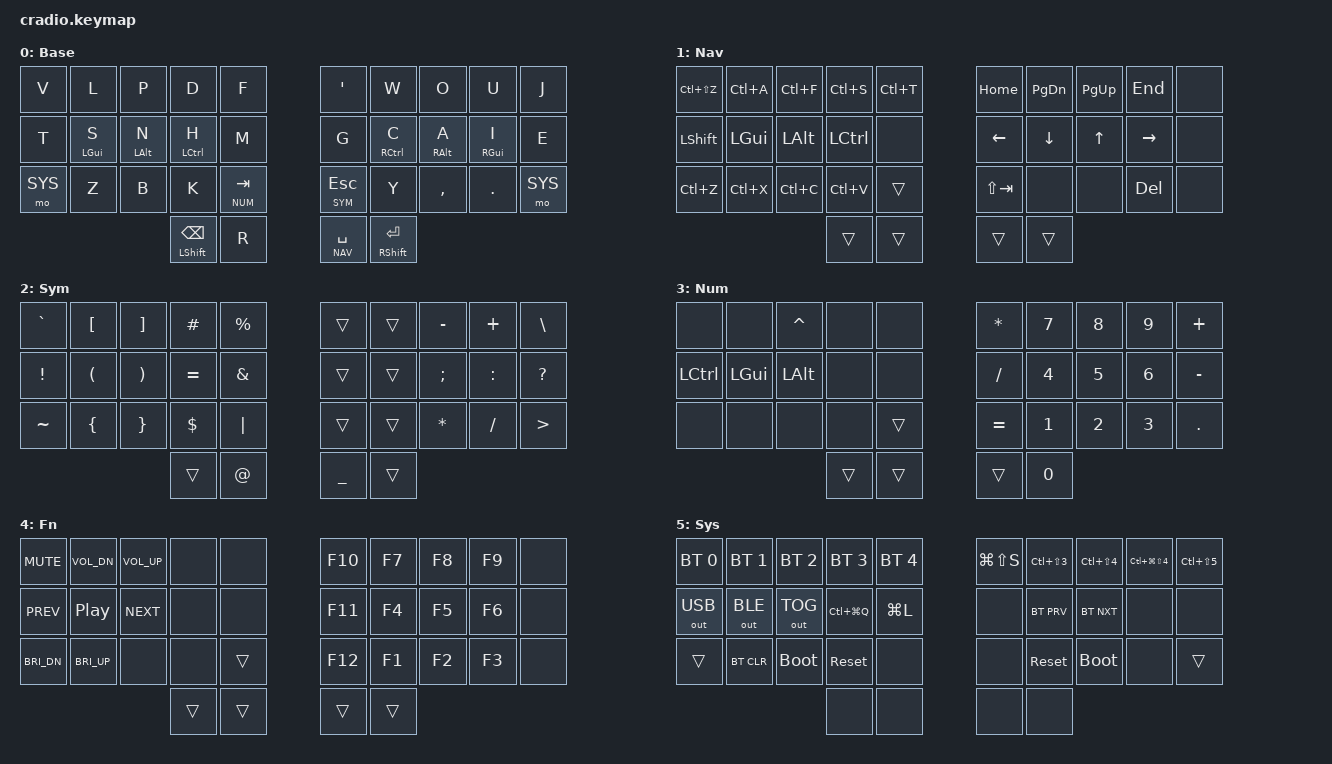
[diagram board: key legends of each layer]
/*
 * B's Ferris Sweep (cradio) — Birdie 23332 + layers
 *
 * Shortcuts are Ctrl-based on every OS. On macOS/iPadOS, Ctrl and Cmd are
 * swapped in the OS settings (same as the Voyager), so Ctrl+C = copy everywhere.
 *
 * Position map (cradio, 34 keys):
 *  0  1  2  3  4 |  5  6  7  8  9
 * 10 11 12 13 14 | 15 16 17 18 19
 * 20 21 22 23 24 | 25 26 27 28 29
 *       30 31    |    32 33
 *
 * Layer access:
 *   NAV = hold Space (32)          SYM = hold 25 (tap Esc)
 *   NUM = hold 24 (tap Tab)        FN  = NAV + NUM together
 *   SYS = hold 20 or 29 (pinky bottoms, no tap action)
 */

#include <behaviors.dtsi>
#include <dt-bindings/zmk/keys.h>
#include <dt-bindings/zmk/bt.h>
#include <dt-bindings/zmk/outputs.h>

#define BASE 0
#define NAV  1
#define SYM  2
#define NUM  3
#define FN   4
#define SYS  5

/* key position groups for positional hold-taps */
#define KEYS_L 0 1 2 3 4 10 11 12 13 14 20 21 22 23 24
#define KEYS_R 5 6 7 8 9 15 16 17 18 19 25 26 27 28 29
#define THUMBS 30 31 32 33

/* Ctrl-based shortcuts (S_ prefix avoids clashing with ZMK's UNDO/CUT/COPY/PASTE keycodes) */
#define S_UNDO    LC(Z)
#define S_REDO    LC(LS(Z))
#define S_CUT     LC(X)
#define S_COPY    LC(C)
#define S_PASTE   LC(V)
#define S_SELALL  LC(A)
#define S_FIND    LC(F)
#define S_SAVE    LC(S)
#define S_NEWTAB  LC(T)

/* Lock differs per OS, so two keys on SYS */
#define LOCK_MAC  LC(LG(Q))   /* macOS: Ctrl+Cmd+Q (unchanged by the swap) */
#define LOCK_PC   LG(L)       /* Windows / Linux: Win/Super+L */

/* macOS screenshots (Ctrl here = Cmd after the swap) */
#define SHOT_FULL LC(LS(N3))        /* Cmd+Shift+3: full screen */
#define SHOT_SEL  LC(LS(N4))        /* Cmd+Shift+4: selection */
#define SHOT_CLIP LC(LG(LS(N4)))    /* Cmd+Ctrl+Shift+4: selection to clipboard */
#define SHOT_BAR  LC(LS(N5))        /* Cmd+Shift+5: screenshot toolbar */
#define SHOT_WIN  LG(LS(S))         /* Windows: Win+Shift+S, Snipping Tool */

/ {
    behaviors {
        /* Timeless home-row mods: left hand triggers hold only with right-hand keys or thumbs */
        hml: home_row_mod_left {
            compatible = "zmk,behavior-hold-tap";
            #binding-cells = <2>;
            flavor = "balanced";
            tapping-term-ms = <280>;
            quick-tap-ms = <175>;
            require-prior-idle-ms = <150>;
            bindings = <&kp>, <&kp>;
            hold-trigger-key-positions = <KEYS_R THUMBS>;
            hold-trigger-on-release;
        };

        hmr: home_row_mod_right {
            compatible = "zmk,behavior-hold-tap";
            #binding-cells = <2>;
            flavor = "balanced";
            tapping-term-ms = <280>;
            quick-tap-ms = <175>;
            require-prior-idle-ms = <150>;
            bindings = <&kp>, <&kp>;
            hold-trigger-key-positions = <KEYS_L THUMBS>;
            hold-trigger-on-release;
        };

        /* Thumb Shift: tap = key, hold = Shift. hold-preferred mimics a real Shift.
         * No require-prior-idle here, or mid-sentence capitals would fail.
         * Tap, then tap-and-hold within quick-tap-ms = held Backspace / Enter,
         * so the OS key-repeat kicks in (delete runs of text without mashing).
         * 250 ms leaves room for a deliberate double-tap; lower it if a quick
         * Backspace followed by a Shift-held capital ever comes out as Backspace. */
        ts: thumb_shift {
            compatible = "zmk,behavior-hold-tap";
            #binding-cells = <2>;
            flavor = "hold-preferred";
            tapping-term-ms = <200>;
            quick-tap-ms = <250>;
            bindings = <&kp>, <&kp>;
        };

        /* Layer-tap with balanced flavor (ZMK's stock &lt is tap-preferred = laggy layers) */
        ltb: layer_tap_balanced {
            compatible = "zmk,behavior-hold-tap";
            #binding-cells = <2>;
            flavor = "balanced";
            tapping-term-ms = <200>;
            quick-tap-ms = <175>;
            bindings = <&mo>, <&kp>;
        };
    };

    combos {
        compatible = "zmk,combos";

        /* Birdie chords: vertical presses on the inner index columns */
        combo_q {
            timeout-ms = <50>;
            key-positions = <4 14>;   /* f + m */
            bindings = <&kp Q>;
            layers = <BASE>;
        };
        combo_x {
            timeout-ms = <50>;
            key-positions = <5 15>;   /* ' + g */
            bindings = <&kp X>;
            layers = <BASE>;
        };
        /* both Shift thumbs = Caps Word */
        combo_caps_word {
            timeout-ms = <50>;
            key-positions = <30 33>;
            bindings = <&caps_word>;
            layers = <BASE>;
        };
    };

    conditional_layers {
        compatible = "zmk,conditional-layers";
        cond_fn {
            if-layers = <NAV NUM>;
            then-layer = <FN>;
        };
    };

    keymap {
        compatible = "zmk,keymap";

        /* BASE — Birdie (Isla), 23332
         *  v    l    p    d    f   |  '    w    o    u    j
         *  t   s⌘   n⌥   h⌃    m   |  g   c⌃   a⌥   i⌘    e
         * SYS   z    b    k  NUM   | SYM   y    ,    .  SYS
         *          ⌫/⇧    r        | ␣/NAV  ⏎/⇧
         * combos: f+m=q  '+g=x  both ⇧ thumbs=Caps Word
         */
        base_layer {
            display-name = "Base";
            bindings = <
&kp V      &kp L          &kp P          &kp D           &kp F           &kp SQT          &kp W           &kp O          &kp U          &kp J
&kp T      &hml LGUI S    &hml LALT N    &hml LCTRL H    &kp M           &kp G            &hmr RCTRL C    &hmr RALT A    &hmr RGUI I    &kp E
&mo SYS    &kp Z          &kp B          &kp K           &ltb NUM TAB    &ltb SYM ESC     &kp Y           &kp COMMA      &kp DOT        &mo SYS
                          &ts LSHFT BSPC &kp R                           &ltb NAV SPACE   &ts RSHFT RET
            >;
        };

        /* NAV — hold Space. Arrows right on the QWERTY HJKL positions; plain mods + shortcuts left.
         * Redo  SelA Find Save NewT| Home PgDn PgUp End   ·
         *  ⇧    ⌘    ⌥    ⌃    ·   |  ←    ↓    ↑    →    ·
         * Undo  Cut  Copy Paste(NUM)| ⇧Tab  ·    ·   Del   ·
         * (24 stays transparent so NAV → NUM reaches FN)
         */
        nav_layer {
            display-name = "Nav";
            bindings = <
&kp S_REDO    &kp S_SELALL   &kp S_FIND    &kp S_SAVE     &kp S_NEWTAB    &kp HOME       &kp PG_DN   &kp PG_UP    &kp END     &none
&kp LSHFT     &kp LGUI       &kp LALT      &kp LCTRL      &none           &kp LEFT       &kp DOWN    &kp UP       &kp RIGHT   &none
&kp S_UNDO    &kp S_CUT      &kp S_COPY    &kp S_PASTE    &trans          &kp LS(TAB)    &none       &none        &kp DEL     &none
                             &trans        &trans                         &trans         &trans
            >;
        };

        /* SYM — hold 25 (right index), so the right index columns are unusable here.
         * Shifted base keys still give " < > (Shift + ' , .).
         *  `    [    ]    #    %   |  ·    ·    -    +    \
         *  !    (    )    =    &   |  ·    ·    ;    :    ?
         *  ~    {    }    $    |   | (held) ·   *    /    >
         *           ⌫/⇧   @        |  _   ⏎/⇧
         * If ` comes out as § (and ~ as ±) on macOS, the Mac has this keyboard saved as ISO.
         * The type is stored per keyboard, so set Narsil's entry directly, then reboot:
         *   sudo defaults write /Library/Preferences/com.apple.keyboardtype keyboardtype -dict-add "24926-7504-0" -int 40
         * (24926-7504 = ZMK's default product/vendor ID, the same on every Mac and shared
         *  by any ZMK board on default IDs; 40 = ANSI, 41 = ISO)
         */
        sym_layer {
            display-name = "Sym";
            bindings = <
&kp GRAVE   &kp LBKT    &kp RBKT    &kp HASH    &kp PRCNT     &trans    &trans    &kp MINUS    &kp PLUS     &kp BSLH
&kp EXCL    &kp LPAR    &kp RPAR    &kp EQUAL   &kp AMPS      &trans    &trans    &kp SEMI     &kp COLON    &kp QMARK
&kp TILDE   &kp LBRC    &kp RBRC    &kp DLLR    &kp PIPE      &trans    &trans    &kp STAR     &kp FSLH     &kp GT
                        &trans      &kp AT                    &kp UNDER &trans
            >;
        };

        /* NUM — hold 24 (left index). Numpad on the right hand, 0 on right outer thumb.
         *  ·    ·    ^    ·    ·   |  *    7    8    9    +
         *  ⌃    ⌘    ⌥    ·    ·   |  /    4    5    6    -
         *  ·    ·    ·    ·  (held)|  =    1    2    3    .
         *           ⌫/⇧   r        | ␣/NAV  0
         * (32 stays transparent so NUM → NAV reaches FN)
         */
        num_layer {
            display-name = "Num";
            bindings = <
&none       &none       &kp CARET   &none       &none         &kp STAR    &kp N7    &kp N8    &kp N9    &kp PLUS
&kp LCTRL   &kp LGUI    &kp LALT    &none       &none         &kp FSLH    &kp N4    &kp N5    &kp N6    &kp MINUS
&none       &none       &none       &none       &trans        &kp EQUAL   &kp N1    &kp N2    &kp N3    &kp DOT
                        &trans      &trans                    &trans      &kp N0
            >;
        };

        /* FN — hold NUM (24) + NAV (Space). F-keys sit where the digits are on NUM.
         * Mute Vol- Vol+  ·    ·   | F10  F7   F8   F9   ·
         * Prev Play Next  ·    ·   | F11  F4   F5   F6   ·
         * Bri- Bri+  ·    ·  (held)| F12  F1   F2   F3   ·
         */
        fn_layer {
            display-name = "Fn";
            bindings = <
&kp C_MUTE     &kp C_VOL_DN   &kp C_VOL_UP   &none   &none     &kp F10   &kp F7   &kp F8   &kp F9   &none
&kp C_PREV     &kp C_PP       &kp C_NEXT     &none   &none     &kp F11   &kp F4   &kp F5   &kp F6   &none
&kp C_BRI_DN   &kp C_BRI_UP   &none          &none   &trans    &kp F12   &kp F1   &kp F2   &kp F3   &none
                              &trans         &trans            &trans    &trans
            >;
        };

        /* SYS — hold either pinky-bottom key; the other hand does the action.
         * BT0  BT1  BT2  BT3  BT4  | WinShot Shot Sel Clip Bar
         * USB  BLE  Tog LkMac LkPC |  ·  BTPrv BTNxt  ·    ·
         *(held) Clr Boot Rst   ·   |  ·   Rst  Boot   ·  (held)
         * Hold 29 for connections (left), 20 for screenshots / BT cycling (right).
         * Only reset/bootloader act on the half they're pressed on, so they're on
         * both halves; &bt, &out and &kp run on the central half from either side.
         */
        sys_layer {
            display-name = "Sys";
            bindings = <
&bt BT_SEL 0   &bt BT_SEL 1   &bt BT_SEL 2   &bt BT_SEL 3   &bt BT_SEL 4      &kp SHOT_WIN   &kp SHOT_FULL  &kp SHOT_SEL   &kp SHOT_CLIP  &kp SHOT_BAR
&out OUT_USB   &out OUT_BLE   &out OUT_TOG   &kp LOCK_MAC   &kp LOCK_PC       &none          &bt BT_PRV     &bt BT_NXT     &none          &none
&trans         &bt BT_CLR     &bootloader    &sys_reset     &none             &none          &sys_reset     &bootloader    &none          &trans
                              &none          &none                            &none          &none
            >;
        };
    };
};
